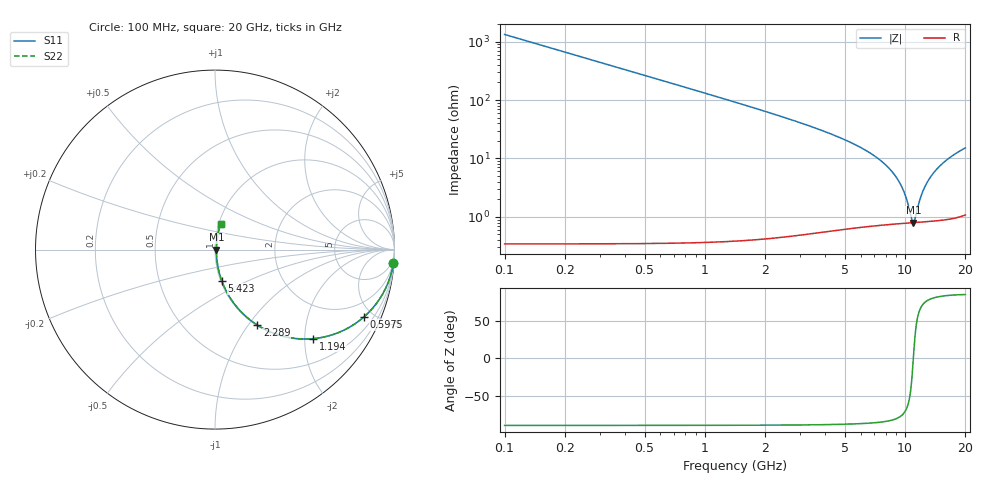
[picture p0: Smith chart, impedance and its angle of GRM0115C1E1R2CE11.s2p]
!Murata Part Number: GRM0115C1E1R2CE11
!These Parameters are Measured in Series Mode Connection
!Data Generated on Mar 30, 2021
!  o--ll--o
!Port1  Port2
!  o------o
!Operation Temp=25[degC], DC Bias Voltage=0[V]
!Freq. Start=100[MHz] Stop=20[GHz] 401[Steps]
# Hz S RI R 50
!Freq.(Hz) S11(Real) S11(Imag) S21(Real) S21(Imag) S12(Real) S12(Imag) S22(Real) S22(Imag)
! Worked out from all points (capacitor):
!   401 points, 100 MHz to 20 GHz, reference 50 ohm
!   read as one part in series: C = 1.2 pF near 199.5 MHz
!   lowest |Z| = 796 mohm at 11 GHz (marker M1)
!   series resonance near 10.99 GHz, so ESL is about 170 pH
!   S11 on the Smith chart (normalised r, x): 100 MHz: 1, -27; 597.5 MHz: 1.01, -4.43; 1.194 GHz: 1.01, -2.19; 2.289 GHz: 1.01, -1.11; 5.423 GHz: 1.01, -0.37; 20 GHz: 1.02, +0.30
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1e8  0.9943 -0.075  0.00567 0.075  0.00567 0.075  0.9943 -0.075
3.4875e8  0.935 -0.2461  0.065 0.2461  0.065 0.2461  0.935 -0.2461
5.975e8  0.83 -0.3748  0.17 0.3748  0.17 0.3748  0.83 -0.3748
8.4625e8  0.7076 -0.4537  0.2924 0.4537  0.2924 0.4537  0.7076 -0.4537
1.1945e9  0.5457 -0.4962  0.4543 0.4962  0.4543 0.4962  0.5457 -0.4962
1.692e9  0.3692 -0.48  0.6308 0.48  0.6308 0.48  0.3692 -0.48
2.289e9  0.2358 -0.4206  0.7642 0.4206  0.7642 0.4206  0.2358 -0.4206
3.43325e9  0.111 -0.3068  0.889 0.3068  0.889 0.3068  0.111 -0.3068
5.42325e9  0.0383 -0.1753  0.9617 0.1753  0.9617 0.1753  0.0383 -0.1753
6.7665e9  0.0209 -0.1172  0.9791 0.1172  0.9791 0.1172  0.0209 -0.1172
8.80625e9  0.0102 -0.0524  0.9898 0.0524  0.9898 0.0524  0.0102 -0.0524
9.50275e9  0.00879 -0.0343  0.9912 0.0343  0.9912 0.0343  0.00879 -0.0343
1.005e10  0.00816 -0.0211  0.9918 0.0211  0.9918 0.0211  0.00816 -0.0211
1.079625e10  0.00788 -0.00422  0.9921 0.00422  0.9921 0.00422  0.00788 -0.00422
1.099525e10  0.00789 7.1e-05  0.9921 -7.1e-05  0.9921 -7.1e-05  0.00789 7.1e-05
1.11445e10  0.00793 0.00324  0.9921 -0.00324  0.9921 -0.00324  0.00793 0.00324
1.169175e10  0.00823 0.0145  0.9918 -0.0145  0.9918 -0.0145  0.00823 0.0145
1.21395e10  0.00864 0.0233  0.9914 -0.0233  0.9914 -0.0233  0.00864 0.0233
1.338325e10  0.0105 0.0464  0.9895 -0.0464  0.9895 -0.0464  0.0105 0.0464
1.4826e10  0.0137 0.0708  0.9863 -0.0708  0.9863 -0.0708  0.0137 0.0708
1.67165e10  0.0193 0.1001  0.9807 -0.1001  0.9807 -0.1001  0.0193 0.1001
2e10  0.0323 0.1448  0.9677 -0.1448  0.9677 -0.1448  0.0323 0.1448
